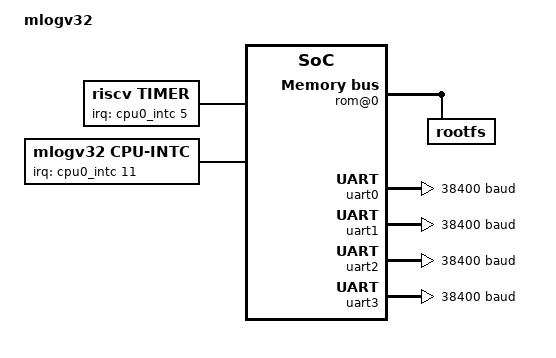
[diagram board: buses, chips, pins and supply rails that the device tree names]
/dts-v1/;

/ {
    #address-cells = <1>;
    #size-cells = <1>;
    model = "mlogv32";
    chassis-type = "embedded";

    chosen {
        // UART0: earlycon console=ttyUL0
        // SBI: earlycon=sbi console=hvc
        // for debugging: earlycon=sbi console=ttyUL0 kgdboc_earlycon= kgdboc= kgdbwait
        bootargs = "earlycon console=ttyUL0";
        mlogv32,alternate-bootargs =
            "earlycon=sbi console=hvc",
            "earlycon=sbi console=ttyUL0 kgdboc_earlycon= kgdboc= kgdbwait";
        stdout-path = &uart0;
    };

    rom@0 {
        compatible = "mtd-rom";
        reg = <0x0 (22*1024*1024)>;
        bank-width = <1>; // 8-bit "bus"

        #address-cells = <1>;
        #size-cells = <1>;

        rootfs@1000 {
            label = "rootfs";
            reg = <0x1000 (22*1024*1024 - 0x1000)>;
            linux,rootfs;
        };
    };

    memory@80000000 {
        device_type = "memory";
        // the last 256K are reserved for OpenSBI
        reg = <0x80000000 (14*1024*1024 - 256*1024)>;
    };

    cpus {
        #address-cells = <1>;
        #size-cells = <0>;
        timebase-frequency = <1000000>;

        cpu@0 {
            device_type = "cpu";
            compatible = "riscv";
            mmu-type = "riscv,sv32";
            reg = <0>; // hart id
            riscv,isa-base = "rv32i";
            riscv,isa-extensions =
                "i",
                "m",
                "a",
                "zicntr",
                "zicsr",
                "zifencei",
                "zihintpause",
                "sstc",
                "svade";

            cpu0_intc: interrupt-controller {
                compatible = "riscv,cpu-intc";
                #interrupt-cells = <1>;
                interrupt-controller;
            };
        };
    };

    timer {
        compatible = "riscv,timer";
        interrupts-extended = <&cpu0_intc 5>;
    };

    intc: interrupt-controller {
        compatible = "mlogv32,cpu-intc";
        #interrupt-cells = <2>;
        interrupt-controller;
        interrupts-extended = <&cpu0_intc 11>;
    };

    soc {
        #address-cells = <1>;
        #size-cells = <1>;
        compatible = "simple-bus";
        ranges;

        uart0: serial@f0000010 {
            compatible = "xlnx,xps-uartlite-1.00.a";
            reg = <0xf0000010 0x10>;
            interrupts-extended = <&intc 11 1>; // IRQ_TYPE_EDGE_RISING
            current-speed = <38400>;
            fifo-size = <253>;
            xlnx,data-bits = <8>;
            xlnx,use-parity = <0>;
        };

        uart1: serial@f0000020 {
            compatible = "xlnx,xps-uartlite-1.00.a";
            reg = <0xf0000020 0x10>;
            interrupts-extended = <&intc 11 1>;
            current-speed = <38400>;
            fifo-size = <253>;
            xlnx,data-bits = <8>;
            xlnx,use-parity = <0>;
        };

        uart2: serial@f0000030 {
            compatible = "xlnx,xps-uartlite-1.00.a";
            reg = <0xf0000030 0x10>;
            interrupts-extended = <&intc 11 1>;
            current-speed = <38400>;
            fifo-size = <253>;
            xlnx,data-bits = <8>;
            xlnx,use-parity = <0>;
        };

        uart3: serial@f0000040 {
            compatible = "xlnx,xps-uartlite-1.00.a";
            reg = <0xf0000040 0x10>;
            interrupts-extended = <&intc 11 1>;
            current-speed = <38400>;
            fifo-size = <253>;
            xlnx,data-bits = <8>;
            xlnx,use-parity = <0>;
        };

        syscon: syscon@fffffff0 {
            compatible = "syscon";
            reg = <0xfffffff0 0x4>;
        };

        poweroff {
            compatible = "syscon-poweroff";
            regmap = <&syscon>;
            offset = <0x0>;
            value = <0x2>;
        };

        reboot {
            compatible = "syscon-reboot";
            regmap = <&syscon>;
            offset = <0x0>;
            value = <0x1>;
        };
    };
};
